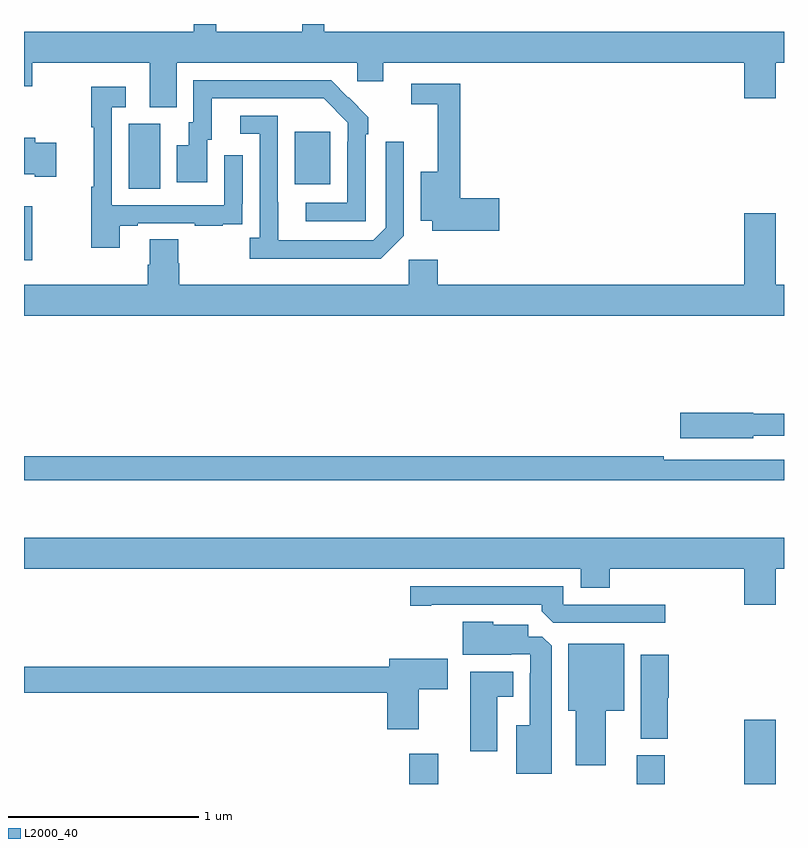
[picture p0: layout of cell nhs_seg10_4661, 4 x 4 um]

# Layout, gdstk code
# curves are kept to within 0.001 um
import gdstk
lib = gdstk.Library(unit=1e-6, precision=1e-09)
def R(c, l, rs):  # rectangles x0, y0, x1, y1
    for r in rs: c.add(gdstk.rectangle(r[:2], r[2:], *l))
def P(c, l, *ps):  # polygons
    for p in ps: c.add(gdstk.Polygon(p, *l))
L2000_40 = (2000, 40)

nhs_seg10_4661 = lib.new_cell('nhs_seg10_4661')
R(nhs_seg10_4661, L2000_40, [(379.028,1316.5,379.18,1316.659), (380.225,1316.5,380.373,1316.652), (380.792,1316.5,380.956,1316.839), (377,1319.256,377.043,1319.542), (377.552,1319.632,377.716,1319.976), (378.425,1319.657,378.613,1319.932)])
P(nhs_seg10_4661, L2000_40, [(377.803,1320.296),(378.753,1320.296),(378.753,1320.198),(378.892,1320.198),(378.892,1320.296),(380.792,1320.296),(380.792,1320.108),(380.956,1320.108),(380.956,1320.296),(381,1320.296),(381,1320.46),(378.581,1320.46),(378.581,1320.5),(378.464,1320.5),(378.464,1320.46),(378.011,1320.46),(378.011,1320.5),(377.893,1320.5),(377.893,1320.46),(377,1320.46),(377,1320.172),(377.043,1320.172),(377.043,1320.296),(377.663,1320.296),(377.663,1320.061),(377.803,1320.061)],
  [(378.798,1319.921),(378.813,1319.921),(378.813,1320.009),(378.616,1320.204),(377.892,1320.204),(377.892,1319.982),(377.867,1319.982),(377.867,1319.863),(377.804,1319.863),(377.804,1319.667),(377.965,1319.667),(377.965,1319.892),(377.989,1319.892),(377.989,1320.108),(378.577,1320.108),(378.705,1319.979),(378.705,1319.879),(378.702,1319.879),(378.702,1319.559),(378.483,1319.559),(378.483,1319.463),(378.798,1319.463)],
  [(379.501,1319.582),(379.295,1319.582),(379.295,1320.186),(379.038,1320.186),(379.038,1320.078),(379.178,1320.078),(379.178,1319.722),(379.088,1319.722),(379.088,1319.465),(379.148,1319.465),(379.148,1319.411),(379.501,1319.411)],
  [(377.503,1319.439),(377.599,1319.439),(377.599,1319.451),(377.899,1319.451),(377.899,1319.439),(378.047,1319.439),(378.047,1319.445),(378.149,1319.445),(378.149,1319.554),(378.15,1319.554),(378.15,1319.809),(378.054,1319.809),(378.054,1319.547),(377.463,1319.547),(377.463,1320.063),(377.536,1320.063),(377.536,1320.169),(377.355,1320.169),(377.355,1319.956),(377.366,1319.956),(377.366,1319.644),(377.355,1319.644),(377.355,1319.322),(377.503,1319.322)],
  [(378.999,1319.385),(378.999,1319.881),(378.903,1319.881),(378.903,1319.427),(378.837,1319.361),(378.337,1319.361),(378.336,1320.018),(378.138,1320.018),(378.138,1319.922),(378.24,1319.922),(378.24,1319.374),(378.189,1319.374),(378.189,1319.264),(378.878,1319.264)],
  [(377.17,1319.874),(377.058,1319.874),(377.058,1319.902),(377,1319.902),(377,1319.708),(377.057,1319.708),(377.057,1319.696),(377.17,1319.696)],
  [(381,1319.128),(380.956,1319.128),(380.956,1319.503),(380.792,1319.503),(380.792,1319.128),(379.178,1319.128),(379.178,1319.26),(379.026,1319.26),(379.026,1319.128),(377.816,1319.128),(377.816,1319.241),(377.811,1319.241),(377.811,1319.366),(377.663,1319.366),(377.663,1319.234),(377.651,1319.234),(377.651,1319.128),(377,1319.128),(377,1318.964),(381,1318.964)],
  [(380.838,1318.332),(381,1318.332),(381,1318.448),(380.838,1318.448),(380.838,1318.454),(380.454,1318.454),(380.454,1318.319),(380.838,1318.319)],
  [(381,1318.206),(380.366,1318.206),(380.366,1318.226),(377,1318.226),(377,1318.098),(381,1318.098)],
  [(380.956,1317.632),(381,1317.632),(381,1317.796),(377,1317.796),(377,1317.632),(379.931,1317.632),(379.931,1317.533),(380.084,1317.533),(380.084,1317.632),(380.792,1317.632),(380.792,1317.444),(380.956,1317.444)],
  [(380.374,1317.444),(379.839,1317.444),(379.839,1317.54),(379.032,1317.54),(379.032,1317.439),(379.144,1317.439),(379.144,1317.444),(379.724,1317.444),(379.724,1317.41),(379.785,1317.348),(380.374,1317.348)],
  [(379.777,1317.227),(379.728,1317.276),(379.654,1317.276),(379.654,1317.337),(379.47,1317.337),(379.47,1317.355),(379.31,1317.355),(379.31,1317.179),(379.565,1317.179),(379.565,1317.183),(379.665,1317.183),(379.665,1317.083),(379.661,1317.083),(379.661,1316.809),(379.592,1316.809),(379.592,1316.555),(379.777,1316.555)],
  [(380.062,1316.885),(380.158,1316.885),(380.158,1317.238),(379.865,1317.238),(379.865,1316.885),(379.904,1316.885),(379.904,1316.598),(380.062,1316.598)],
  [(380.388,1316.955),(380.393,1316.955),(380.393,1317.181),(380.246,1317.181),(380.246,1316.737),(380.388,1316.737)],
  [(379.078,1316.998),(379.231,1316.998),(379.231,1317.16),(378.923,1317.16),(378.923,1317.116),(377,1317.116),(377,1316.98),(378.911,1316.98),(378.911,1316.787),(379.078,1316.787)],
  [(379.492,1316.96),(379.576,1316.96),(379.576,1317.091),(379.349,1317.091),(379.349,1316.673),(379.492,1316.673)])

lib.write_gds('nhs_seg10_4661.gds')
